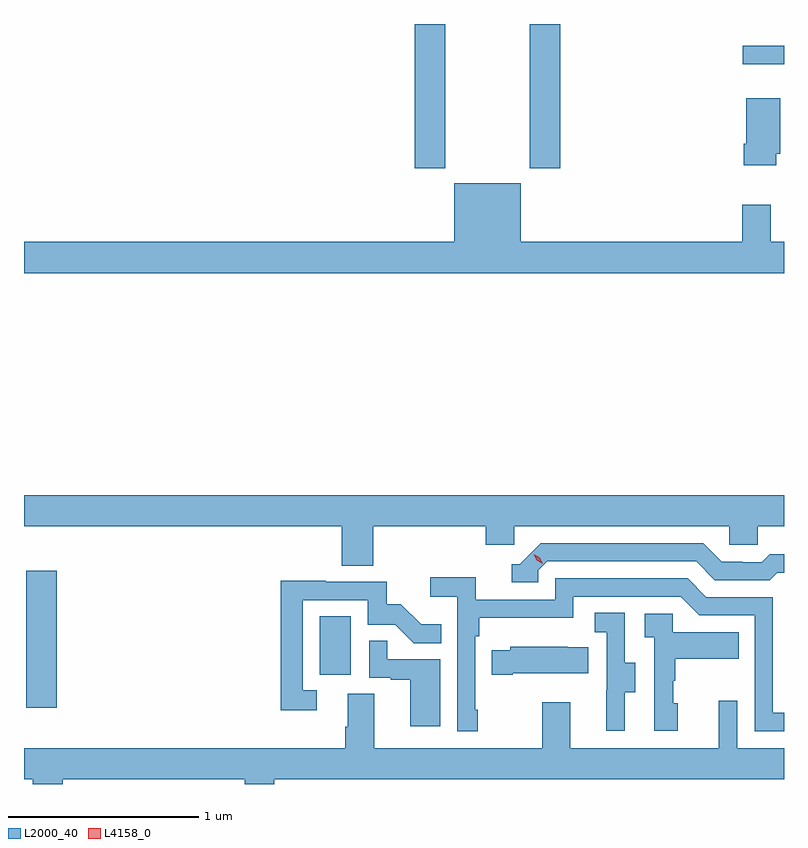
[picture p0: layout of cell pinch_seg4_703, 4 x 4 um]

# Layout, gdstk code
import gdstk
lib = gdstk.Library(unit=1e-6, precision=1e-09)
def R(c, l, rs):  # rectangles x0, y0, x1, y1
    for r in rs: c.add(gdstk.rectangle(r[:2], r[2:], *l))
def P(c, l, *ps):  # polygons
    for p in ps: c.add(gdstk.Polygon(p, *l))
L2000_40 = (2000, 40)
L4158_0 = (4158, 0)

pinch_seg4_703 = lib.new_cell('pinch_seg4_703')
R(pinch_seg4_703, L2000_40, [(887.495,814.512,887.656,815.233), (889.04,814.686,889.204,814.993), (889.541,817.353,889.701,818.111), (890.146,817.353,890.306,818.111), (891.267,817.899,891.484,817.996)])
P(pinch_seg4_703, L2000_40, [(891.442,817.428),(891.463,817.428),(891.463,817.72),(891.284,817.72),(891.284,817.48),(891.272,817.48),(891.272,817.368),(891.442,817.368)],
  [(891.484,816.964),(891.415,816.964),(891.415,817.159),(891.263,817.159),(891.263,816.964),(890.098,816.964),(890.098,817.273),(889.748,817.273),(889.748,816.964),(887.484,816.964),(887.484,816.8),(891.484,816.8)],
  [(889.322,815.468),(889.913,815.468),(889.913,815.37),(890.064,815.37),(890.064,815.468),(891.195,815.468),(891.195,815.37),(891.345,815.37),(891.345,815.468),(891.484,815.468),(891.484,815.632),(887.484,815.632),(887.484,815.468),(889.157,815.468),(889.157,815.26),(889.322,815.26)],
  [(890.19,815.235),(890.238,815.283),(891.021,815.283),(891.12,815.184),(891.409,815.184),(891.448,815.223),(891.484,815.223),(891.484,815.32),(891.409,815.32),(891.367,815.277),(891.264,815.277),(891.264,815.28),(891.157,815.28),(891.058,815.379),(890.205,815.379),(890.094,815.268),(890.051,815.268),(890.051,815.172),(890.19,815.172)],
  [(889.873,814.501),(889.86,814.501),(889.86,814.889),(889.88,814.889),(889.88,814.985),(890.376,814.985),(890.376,815.097),(890.94,815.097),(891.039,814.998),(891.33,814.998),(891.33,814.389),(891.484,814.389),(891.484,814.485),(891.426,814.485),(891.426,815.094),(891.076,815.094),(890.977,815.193),(890.28,815.193),(890.28,815.082),(889.862,815.082),(889.862,815.198),(889.623,815.198),(889.623,815.096),(889.764,815.096),(889.764,814.389),(889.873,814.389)],
  [(889.024,814.605),(888.951,814.605),(888.951,815.079),(889.293,815.079),(889.293,814.95),(889.437,814.95),(889.535,814.852),(889.679,814.852),(889.679,814.951),(889.575,814.951),(889.468,815.058),(889.392,815.058),(889.392,815.175),(889.073,815.175),(889.073,815.18),(888.835,815.18),(888.835,814.5),(889.024,814.5)],
  [(890.647,814.594),(890.701,814.594),(890.701,814.749),(890.646,814.749),(890.646,815.012),(890.487,815.012),(890.487,814.909),(890.55,814.909),(890.55,814.605),(890.549,814.605),(890.549,814.392),(890.647,814.392)],
  [(890.926,814.536),(890.901,814.536),(890.901,814.655),(890.911,814.655),(890.911,814.769),(891.245,814.769),(891.245,814.909),(890.898,814.909),(890.898,815.007),(890.751,815.007),(890.751,814.883),(890.802,814.883),(890.802,814.392),(890.926,814.392)],
  [(889.675,814.767),(889.397,814.767),(889.397,814.865),(889.302,814.865),(889.302,814.671),(889.413,814.671),(889.413,814.659),(889.517,814.659),(889.517,814.416),(889.675,814.416)],
  [(890.056,814.694),(890.453,814.694),(890.453,814.831),(890.345,814.831),(890.345,814.834),(890.043,814.834),(890.043,814.816),(889.945,814.816),(889.945,814.687),(890.056,814.687)],
  [(887.687,814.136),(888.647,814.136),(888.647,814.111),(888.8,814.111),(888.8,814.136),(891.484,814.136),(891.484,814.3),(891.237,814.3),(891.237,814.549),(891.14,814.549),(891.14,814.3),(890.359,814.3),(890.359,814.54),(890.212,814.54),(890.212,814.3),(889.327,814.3),(889.327,814.586),(889.187,814.586),(889.187,814.412),(889.175,814.412),(889.175,814.3),(887.484,814.3),(887.484,814.136),(887.531,814.136),(887.531,814.111),(887.687,814.111)])
P(pinch_seg4_703, L4158_0, [(890.214,815.269),(890.183,815.288),(890.166,815.321),(890.166,815.321),(890.167,815.321),(890.198,815.302),(890.214,815.269),(890.214,815.269)])

lib.write_gds('pinch_seg4_703.gds')
